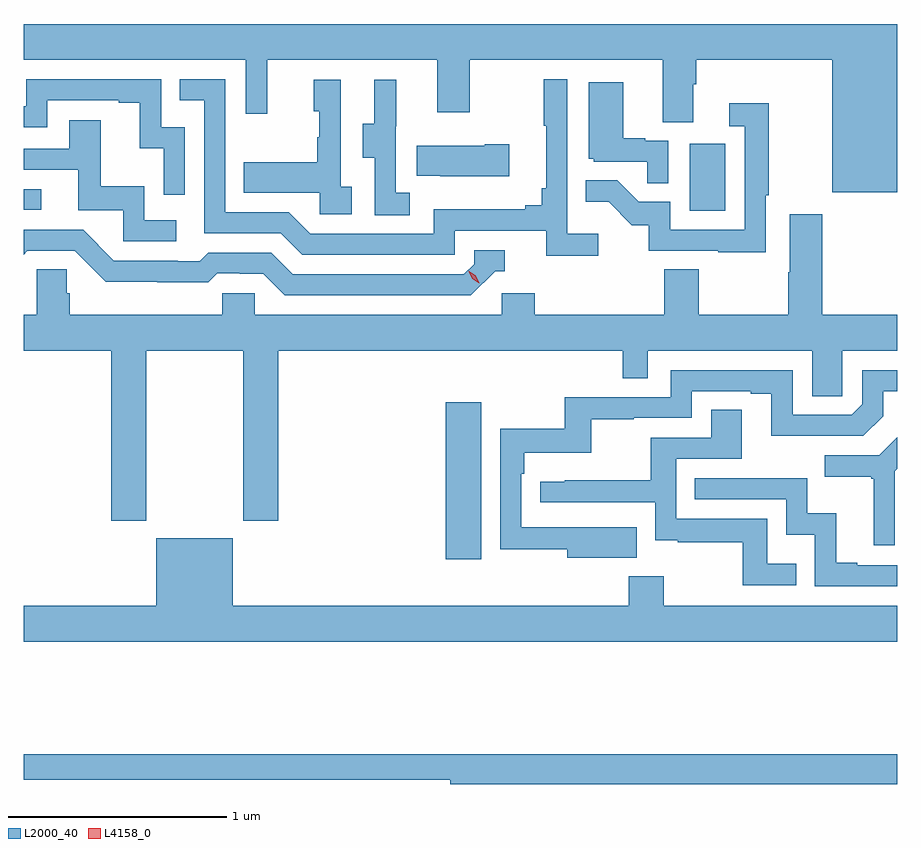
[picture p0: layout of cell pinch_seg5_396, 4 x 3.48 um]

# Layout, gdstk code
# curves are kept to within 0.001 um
import gdstk
lib = gdstk.Library(unit=1e-6, precision=1e-09)
def R(c, l, rs):  # rectangles x0, y0, x1, y1
    for r in rs: c.add(gdstk.rectangle(r[:2], r[2:], *l))
def P(c, l, *ps):  # polygons
    for p in ps: c.add(gdstk.Polygon(p, *l))
L2000_40 = (2000, 40)
L4158_0 = (4158, 0)

pinch_seg5_396 = lib.new_cell('pinch_seg5_396')
R(pinch_seg5_396, L2000_40, [(1001.408,870.456,1001.569,871.177), (1002.524,872.052,1002.688,872.359), (999.475,872.058,999.556,872.151)])
P(pinch_seg5_396, L2000_40, [(1003.475,872.908),(999.475,872.908),(999.475,872.744),(1000.491,872.744),(1000.491,872.496),(1000.589,872.496),(1000.589,872.744),(1001.369,872.744),(1001.369,872.505),(1001.517,872.505),(1001.517,872.744),(1002.401,872.744),(1002.401,872.458),(1002.541,872.458),(1002.541,872.632),(1002.554,872.632),(1002.554,872.744),(1003.178,872.744),(1003.178,872.138),(1003.475,872.138)],
  [(1002.106,871.948),(1001.964,871.948),(1001.964,872.656),(1001.856,872.656),(1001.856,872.443),(1001.867,872.443),(1001.867,872.155),(1001.848,872.155),(1001.848,872.078),(1001.771,872.078),(1001.771,872.059),(1001.352,872.059),(1001.352,871.947),(1000.788,871.947),(1000.689,872.046),(1000.398,872.046),(1000.398,872.655),(1000.189,872.655),(1000.189,872.559),(1000.302,872.559),(1000.302,871.95),(1000.652,871.95),(1000.751,871.851),(1001.448,871.851),(1001.448,871.962),(1001.867,871.962),(1001.867,871.846),(1002.106,871.846)],
  [(1000.212,872.436),(1000.104,872.436),(1000.104,872.655),(999.486,872.655),(999.486,872.532),(999.475,872.532),(999.475,872.436),(999.582,872.436),(999.582,872.559),(999.911,872.559),(999.911,872.547),(1000.007,872.547),(1000.007,872.339),(1000.116,872.339),(1000.116,872.127),(1000.212,872.127)],
  [(1000.978,872.162),(1000.926,872.162),(1000.926,872.653),(1000.802,872.653),(1000.802,872.508),(1000.828,872.508),(1000.828,872.39),(1000.818,872.39),(1000.818,872.275),(1000.483,872.275),(1000.483,872.135),(1000.83,872.135),(1000.83,872.037),(1000.978,872.037)],
  [(1001.242,872.135),(1001.178,872.135),(1001.178,872.439),(1001.18,872.439),(1001.18,872.653),(1001.081,872.653),(1001.081,872.451),(1001.027,872.451),(1001.027,872.296),(1001.082,872.296),(1001.082,872.032),(1001.242,872.032)],
  [(1002.426,872.373),(1002.32,872.373),(1002.32,872.386),(1002.22,872.386),(1002.22,872.641),(1002.062,872.641),(1002.062,872.292),(1002.084,872.292),(1002.084,872.277),(1002.331,872.277),(1002.331,872.179),(1002.426,872.179)],
  [(1002.873,872.125),(1002.886,872.125),(1002.886,872.545),(1002.705,872.545),(1002.705,872.439),(1002.777,872.439),(1002.777,871.965),(1002.435,871.965),(1002.435,872.094),(1002.291,872.094),(1002.193,872.192),(1002.049,872.192),(1002.049,872.093),(1002.153,872.093),(1002.26,871.986),(1002.337,871.986),(1002.337,871.869),(1002.655,871.869),(1002.655,871.864),(1002.873,871.864)],
  [(1000.174,872.01),(1000.026,872.01),(1000.026,872.164),(999.827,872.164),(999.827,872.467),(999.683,872.467),(999.683,872.337),(999.475,872.337),(999.475,872.241),(999.725,872.241),(999.725,872.055),(999.93,872.055),(999.93,871.914),(1000.174,871.914)],
  [(1001.698,872.358),(1001.585,872.358),(1001.585,872.35),(1001.275,872.35),(1001.275,872.213),(1001.383,872.213),(1001.383,872.21),(1001.698,872.21)],
  [(1000.035,871.412),(1000.48,871.412),(1000.48,870.633),(1000.64,870.633),(1000.64,871.412),(1002.217,871.412),(1002.217,871.285),(1002.333,871.285),(1002.333,871.412),(1003.085,871.412),(1003.085,871.204),(1003.224,871.204),(1003.224,871.412),(1003.475,871.412),(1003.475,871.576),(1003.131,871.576),(1003.131,872.038),(1002.983,872.038),(1002.983,871.772),(1002.976,871.772),(1002.976,871.576),(1002.567,871.576),(1002.567,871.784),(1002.407,871.784),(1002.407,871.576),(1001.816,871.576),(1001.816,871.674),(1001.664,871.674),(1001.664,871.576),(1000.533,871.576),(1000.533,871.674),(1000.383,871.674),(1000.383,871.576),(999.686,871.576),(999.686,871.674),(999.671,871.674),(999.671,871.784),(999.534,871.784),(999.534,871.576),(999.475,871.576),(999.475,871.412),(999.875,871.412),(999.875,870.633),(1000.035,870.633)],
  [(1001.634,871.776),(1001.677,871.776),(1001.677,871.872),(1001.538,871.872),(1001.538,871.809),(1001.49,871.761),(1000.707,871.761),(1000.608,871.86),(1000.319,871.86),(1000.28,871.821),(1000.181,871.821),(1000.181,871.824),(999.888,871.824),(999.747,871.965),(999.475,871.965),(999.475,871.852),(999.492,871.869),(999.708,871.869),(999.85,871.727),(1000.086,871.727),(1000.086,871.725),(1000.319,871.725),(1000.361,871.767),(1000.464,871.767),(1000.464,871.764),(1000.571,871.764),(1000.67,871.665),(1001.523,871.665)],
  [(1002.281,870.604),(1001.754,870.603),(1001.754,870.848),(1001.768,870.848),(1001.768,870.944),(1002.073,870.944),(1002.073,871.099),(1002.269,871.099),(1002.269,871.104),(1002.534,871.104),(1002.534,871.227),(1002.803,871.227),(1002.803,871.215),(1002.899,871.215),(1002.899,871.022),(1003.32,871.023),(1003.41,871.113),(1003.41,871.227),(1003.475,871.227),(1003.475,871.323),(1003.314,871.323),(1003.314,871.167),(1003.266,871.119),(1002.996,871.119),(1002.996,871.323),(1002.438,871.323),(1002.438,871.2),(1001.952,871.2),(1001.952,871.054),(1001.658,871.054),(1001.658,870.502),(1001.963,870.502),(1001.963,870.464),(1002.281,870.464)],
  [(1003.013,870.436),(1002.879,870.436),(1002.879,870.642),(1002.462,870.642),(1002.462,870.918),(1002.763,870.918),(1002.763,871.142),(1002.623,871.142),(1002.623,871.014),(1002.346,871.014),(1002.346,870.818),(1001.953,870.818),(1001.953,870.813),(1001.841,870.813),(1001.841,870.717),(1002.366,870.717),(1002.366,870.545),(1002.469,870.545),(1002.469,870.534),(1002.768,870.534),(1002.768,870.339),(1003.013,870.339)],
  [(1003.464,870.861),(1003.475,870.872),(1003.475,871.016),(1003.392,870.933),(1003.143,870.933),(1003.143,870.836),(1003.356,870.836),(1003.356,870.825),(1003.367,870.825),(1003.367,870.522),(1003.464,870.522)],
  [(1003.475,870.429),(1003.291,870.429),(1003.291,870.442),(1003.195,870.442),(1003.195,870.667),(1003.062,870.667),(1003.062,870.828),(1002.547,870.828),(1002.547,870.732),(1002.966,870.732),(1002.966,870.569),(1003.098,870.569),(1003.098,870.333),(1003.475,870.333)],
  [(1003.475,870.244),(1002.405,870.244),(1002.405,870.379),(1002.245,870.379),(1002.245,870.244),(1000.432,870.244),(1000.432,870.553),(1000.082,870.553),(1000.082,870.244),(999.475,870.244),(999.475,870.08),(1003.475,870.08)],
  [(1003.475,869.564),(999.475,869.564),(999.475,869.448),(1001.176,869.448),(1001.176,869.447),(1001.428,869.447),(1001.428,869.428),(1003.475,869.428)])
P(pinch_seg5_396, L4158_0, [(1001.56,871.722),(1001.529,871.742),(1001.513,871.775),(1001.513,871.775),(1001.514,871.775),(1001.544,871.755),(1001.56,871.722),(1001.56,871.722)])

lib.write_gds('pinch_seg5_396.gds')
